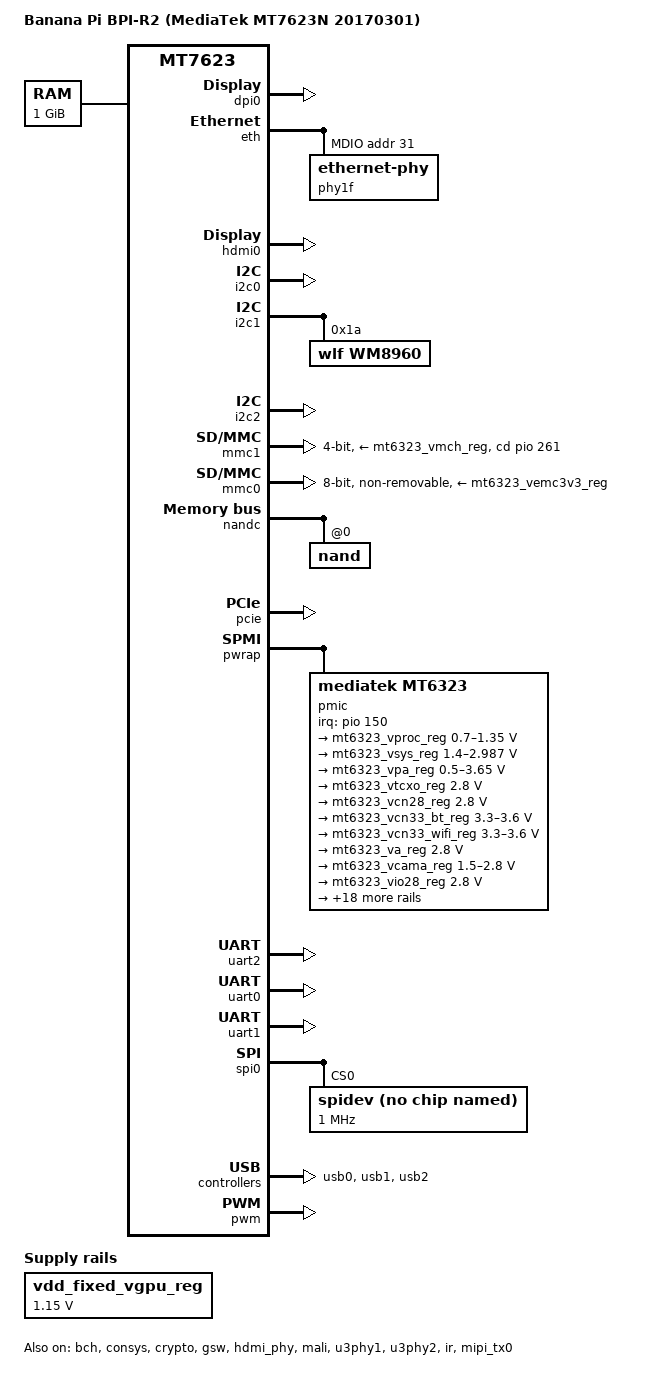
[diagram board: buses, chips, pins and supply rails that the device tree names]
/*
 * Copyright (c) 2016 MediaTek Inc.
 * Author: Sean Wang <sean.wang@mediatek.com>
 *
 * This program is free software; you can redistribute it and/or modify
 * it under the terms of the GNU General Public License version 2 as
 * published by the Free Software Foundation.
 *
 * This program is distributed in the hope that it will be useful,
 * but WITHOUT ANY WARRANTY; without even the implied warranty of
 * MERCHANTABILITY or FITNESS FOR A PARTICULAR PURPOSE.  See the
 * GNU General Public License for more details.
 */

/dts-v1/;
#include "mt7623.dtsi"

/ {
	model = "Banana Pi BPI-R2 (MediaTek MT7623N 20170301)";
	compatible = "mediatek,mt7623-evb", "mediatek,mt7623";

	chosen {
		stdout-path = &uart2;
	};

	memory {
		reg = <0 0x80000000 0 0x40000000>;
	};

	vdd_fixed_vgpu_reg: fixedregulator@0 {
		compatible = "regulator-fixed";
		regulator-name = "vdd_fixed_vgpu";
		regulator-min-microvolt = <1150000>;
		regulator-max-microvolt = <1150000>;
	};
};

&bch {
	status = "okay";
};

&consys {
	mediatek,pwrap-regmap = <&pwrap>;
	pinctrl-names = "default";
	pinctrl-0 = <&consys_pins_default>;
	vcn18-supply = <&mt6323_vcn18_reg>;
	vcn28-supply = <&mt6323_vcn28_reg>;
	vcn33_bt-supply = <&mt6323_vcn33_bt_reg>;
	vcn33_wifi-supply = <&mt6323_vcn33_wifi_reg>;
	status = "okay";
};


&crypto {
	status = "okay";
};

&dpi0 {
	status = "okay";
};

&eth {
	mac-address = [00 00 00 00 00 00];
	status = "okay";
	pinctrl-names = "default";
	pinctrl-0 = <&ephy_default>;
	gmac0: mac@0 {
		compatible = "mediatek,eth-mac";
		reg = <0>;
		phy-mode = "trgmii";
		fixed-link {
			speed = <1000>;
			full-duplex;
			pause;
		};
	};

	gmac1: mac@1 {
		compatible = "mediatek,eth-mac";
		reg = <1>;
		phy-mode = "rgmii";
		fixed-link {
			speed = <1000>;
			full-duplex;
			pause;
		};
	};

	mdio-bus {
		#address-cells = <1>;
		#size-cells = <0>;
		phy1f: ethernet-phy@1f {
			reg = <0x1f>;
			phy-mode = "rgmii";
		};
	};
};

&gsw {
	mt7530-supply = <&mt6323_vpa_reg>;
	pinctrl-names = "reset";
        mediatek,port_map = "wllll";
	pinctrl-0 = <&gsw_reset>;
	mediatek,reset-pin = <&pio 33 0>;
	interrupt-parent = <&pio>;
	interrupts = <17 IRQ_TYPE_EDGE_RISING>;
	status = "okay";
};

&hdmi0 {
	status = "okay";
};

&hdmi_phy {
	status = "okay";
};

&i2c0 {
	pinctrl-names = "default";
	pinctrl-0 = <&i2c0_pins_a>;
	status = "okay";
};

&i2c1 {
	pinctrl-names = "default";
	pinctrl-0 = <&i2c1_pins_a>;
	status = "okay";

	wm8960: wm8960@1a {
		compatible = "wlf,wm8960";
		reg = <0x1a>;
	};
};

&i2c2 {
	pinctrl-names = "default";
	pinctrl-0 = <&i2c2_pins_a>;
	status = "okay";
};


&mali {
	vdd_g3d-supply = <&vdd_fixed_vgpu_reg>;
	status = "okay";
};

&mmc1 {
	pinctrl-names = "default", "state_uhs";
	pinctrl-0 = <&mmc1_pins_default>;
	pinctrl-1 = <&mmc1_pins_uhs>;
	status = "okay";
	bus-width = <4>;
	max-frequency = <50000000>;
	cap-sd-highspeed;
	cd-gpios = <&pio 261 0>;
/*
	wp-gpios = <&pio 29 0>;
*/
	vmmc-supply = <&mt6323_vmch_reg>;
	vqmmc-supply = <&mt6323_vmc_reg>;
};

&mmc0 {
	pinctrl-names = "default", "state_uhs";
	pinctrl-0 = <&mmc0_pins_default>;
	pinctrl-1 = <&mmc0_pins_uhs>;
	status = "okay";
	bus-width = <8>;
	max-frequency = <50000000>;
	cap-mmc-highspeed;
	vmmc-supply = <&mt6323_vemc3v3_reg>;
	vqmmc-supply = <&mt6323_vio18_reg>;
	non-removable;
};

&nandc {
	status = "okay";
	pinctrl-names = "default";
	pinctrl-0 = <&nand_pins_default>;
	nand@0 {
		reg = <0>;
		spare_per_sector = <64>;
		nand-ecc-mode = "hw";
		nand-ecc-strength = <12>;
		nand-ecc-step-size = <1024>;
	};
};

&pcie {
	pinctrl-names = "default";
	pinctrl-0 = <&pcie_default>;
	status = "okay";
};

&pio {
	ephy_default: ephy_default {
		pins_eth {
			pinmux = <MT7623_PIN_275_G2_MDC_FUNC_MDC>,
				 <MT7623_PIN_276_G2_MDIO_FUNC_MDIO>,
				 <MT7623_PIN_262_G2_TXEN_FUNC_G2_TXEN>,
				 <MT7623_PIN_263_G2_TXD3_FUNC_G2_TXD3>,
				 <MT7623_PIN_264_G2_TXD2_FUNC_G2_TXD2>,
				 <MT7623_PIN_265_G2_TXD1_FUNC_G2_TXD1>,
				 <MT7623_PIN_266_G2_TXD0_FUNC_G2_TXD0>,
				 <MT7623_PIN_267_G2_TXCLK_FUNC_G2_TXC>,
				 <MT7623_PIN_268_G2_RXCLK_FUNC_G2_RXC>,
				 <MT7623_PIN_269_G2_RXD0_FUNC_G2_RXD0>,
				 <MT7623_PIN_270_G2_RXD1_FUNC_G2_RXD1>,
				 <MT7623_PIN_271_G2_RXD2_FUNC_G2_RXD2>,
				 <MT7623_PIN_272_G2_RXD3_FUNC_G2_RXD3>,
				 <MT7623_PIN_274_G2_RXDV_FUNC_G2_RXDV>;
		};
	};

        consys_pins_default: consys_pins_default {
	    adie {
		pinmux = <MT7623_PIN_60_WB_RSTB_FUNC_WB_RSTB>,
			 <MT7623_PIN_61_GPIO61_FUNC_TEST_FD>,
			 <MT7623_PIN_62_GPIO62_FUNC_TEST_FC>,
			 <MT7623_PIN_63_WB_SCLK_FUNC_WB_SCLK>,
			 <MT7623_PIN_64_WB_SDATA_FUNC_WB_SDATA>,
			 <MT7623_PIN_65_WB_SEN_FUNC_WB_SEN>,
			 <MT7623_PIN_66_WB_CRTL0_FUNC_WB_CRTL0>,
			 <MT7623_PIN_67_WB_CRTL1_FUNC_WB_CRTL1>,
			 <MT7623_PIN_68_WB_CRTL2_FUNC_WB_CRTL2>,
			 <MT7623_PIN_69_WB_CRTL3_FUNC_WB_CRTL3>,
			 <MT7623_PIN_70_WB_CRTL4_FUNC_WB_CRTL4>,
			 <MT7623_PIN_71_WB_CRTL5_FUNC_WB_CRTL5>;
		bias-disable;
	    };
        };

	gsw_reset: gsw_reset {
		pins_rst {
			pinmux = <MT7623_PIN_33_I2S1_DATA_FUNC_GPIO33>;
			output-low;
		};
	};

	i2c0_pins_a: i2c0@0 {
		pins1 {
			pinmux = <MT7623_PIN_75_SDA0_FUNC_SDA0>,
				 <MT7623_PIN_76_SCL0_FUNC_SCL0>;
			bias-disable;
		};
	};

	i2c1_pins_a: i2c1@0 {
		pins1 {
			pinmux = <MT7623_PIN_57_SDA1_FUNC_GPIO57>,
				 <MT7623_PIN_58_SCL1_FUNC_GPIO58>,
				 <MT7623_PIN_243_UCTS2_FUNC_SDA1>,
				 <MT7623_PIN_242_URTS2_FUNC_SCL1>;
			bias-disable;
		};
	};

	i2c2_pins_a: i2c2@0 {
		pins1 {
			pinmux = <MT7623_PIN_77_SDA2_FUNC_SDA2>,
				 <MT7623_PIN_78_SCL2_FUNC_SCL2>;
			bias-disable;
		};
	};

	spi0_pins_a: spi@0 {
		pins_spi {
			pinmux = <MT7623_PIN_53_SPI0_CSN_FUNC_SPI0_CS>,
				<MT7623_PIN_54_SPI0_CK_FUNC_SPI0_CK>,
				<MT7623_PIN_55_SPI0_MI_FUNC_SPI0_MI>,
				<MT7623_PIN_56_SPI0_MO_FUNC_SPI0_MO>;
			bias-disable;
		};
	};

	nand_pins_default: nanddefault {
		pins_dat {
			pinmux = <MT7623_PIN_111_MSDC0_DAT7_FUNC_NLD7>,
				<MT7623_PIN_112_MSDC0_DAT6_FUNC_NLD6>,
				<MT7623_PIN_114_MSDC0_DAT4_FUNC_NLD4>,
				<MT7623_PIN_118_MSDC0_DAT3_FUNC_NLD3>,
				<MT7623_PIN_121_MSDC0_DAT0_FUNC_NLD0>,
				<MT7623_PIN_120_MSDC0_DAT1_FUNC_NLD1>,
				<MT7623_PIN_113_MSDC0_DAT5_FUNC_NLD5>,
				<MT7623_PIN_115_MSDC0_RSTB_FUNC_NLD8>,
				<MT7623_PIN_119_MSDC0_DAT2_FUNC_NLD2>;
			input-enable;
			drive-strength = <MTK_DRIVE_8mA>;
			bias-pull-up;
		};
	};

	mmc0_pins_default: mmc0default {
		pins_cmd_dat {
			pinmux = <MT7623_PIN_111_MSDC0_DAT7_FUNC_MSDC0_DAT7>,
				 <MT7623_PIN_112_MSDC0_DAT6_FUNC_MSDC0_DAT6>,
				 <MT7623_PIN_113_MSDC0_DAT5_FUNC_MSDC0_DAT5>,
				 <MT7623_PIN_114_MSDC0_DAT4_FUNC_MSDC0_DAT4>,
				 <MT7623_PIN_118_MSDC0_DAT3_FUNC_MSDC0_DAT3>,
				 <MT7623_PIN_119_MSDC0_DAT2_FUNC_MSDC0_DAT2>,
				 <MT7623_PIN_120_MSDC0_DAT1_FUNC_MSDC0_DAT1>,
				 <MT7623_PIN_121_MSDC0_DAT0_FUNC_MSDC0_DAT0>,
				 <MT7623_PIN_116_MSDC0_CMD_FUNC_MSDC0_CMD>;
			input-enable;
			bias-pull-up;
		};

		pins_clk {
			pinmux = <MT7623_PIN_117_MSDC0_CLK_FUNC_MSDC0_CLK>;
			bias-pull-down;
		};

		pins_rst {
			pinmux = <MT7623_PIN_115_MSDC0_RSTB_FUNC_MSDC0_RSTB>;
			bias-pull-up;
		};
	};

	mmc1_pins_default: mmc1default {
		pins_cmd_dat {
			pinmux = <MT7623_PIN_107_MSDC1_DAT0_FUNC_MSDC1_DAT0>,
				 <MT7623_PIN_108_MSDC1_DAT1_FUNC_MSDC1_DAT1>,
				 <MT7623_PIN_109_MSDC1_DAT2_FUNC_MSDC1_DAT2>,
				 <MT7623_PIN_110_MSDC1_DAT3_FUNC_MSDC1_DAT3>,
				 <MT7623_PIN_105_MSDC1_CMD_FUNC_MSDC1_CMD>;
			input-enable;
			drive-strength = <MTK_DRIVE_4mA>;
			bias-pull-up = <MTK_PUPD_SET_R1R0_10>;
		};

		pins_clk {
			pinmux = <MT7623_PIN_106_MSDC1_CLK_FUNC_MSDC1_CLK>;
			bias-pull-down;
			drive-strength = <MTK_DRIVE_4mA>;
		};
	};

	mmc1_pins_uhs: mmc1 {
		pins_cmd_dat {
			pinmux = <MT7623_PIN_107_MSDC1_DAT0_FUNC_MSDC1_DAT0>,
				 <MT7623_PIN_108_MSDC1_DAT1_FUNC_MSDC1_DAT1>,
				 <MT7623_PIN_109_MSDC1_DAT2_FUNC_MSDC1_DAT2>,
				 <MT7623_PIN_110_MSDC1_DAT3_FUNC_MSDC1_DAT3>,
				 <MT7623_PIN_105_MSDC1_CMD_FUNC_MSDC1_CMD>;
			input-enable;
			drive-strength = <MTK_DRIVE_4mA>;
			bias-pull-up = <MTK_PUPD_SET_R1R0_10>;
		};

		pins_clk {
			pinmux = <MT7623_PIN_106_MSDC1_CLK_FUNC_MSDC1_CLK>;
			drive-strength = <MTK_DRIVE_4mA>;
			bias-pull-down = <MTK_PUPD_SET_R1R0_10>;
		};
	};

	mmc0_pins_uhs: mmc0 {
		pins_cmd_dat {
			pinmux = <MT7623_PIN_111_MSDC0_DAT7_FUNC_MSDC0_DAT7>,
				 <MT7623_PIN_112_MSDC0_DAT6_FUNC_MSDC0_DAT6>,
				 <MT7623_PIN_113_MSDC0_DAT5_FUNC_MSDC0_DAT5>,
				 <MT7623_PIN_114_MSDC0_DAT4_FUNC_MSDC0_DAT4>,
				 <MT7623_PIN_118_MSDC0_DAT3_FUNC_MSDC0_DAT3>,
				 <MT7623_PIN_119_MSDC0_DAT2_FUNC_MSDC0_DAT2>,
				 <MT7623_PIN_120_MSDC0_DAT1_FUNC_MSDC0_DAT1>,
				 <MT7623_PIN_121_MSDC0_DAT0_FUNC_MSDC0_DAT0>,
				 <MT7623_PIN_116_MSDC0_CMD_FUNC_MSDC0_CMD>;
			input-enable;
			drive-strength = <MTK_DRIVE_2mA>;
			bias-pull-up = <MTK_PUPD_SET_R1R0_01>;
		};

		pins_clk {
			pinmux = <MT7623_PIN_117_MSDC0_CLK_FUNC_MSDC0_CLK>;
			drive-strength = <MTK_DRIVE_2mA>;
			bias-pull-down = <MTK_PUPD_SET_R1R0_01>;
		};

		pins_rst {
			pinmux = <MT7623_PIN_115_MSDC0_RSTB_FUNC_MSDC0_RSTB>;
			bias-pull-up;
		};
	};

	pcie_default: pcie_pin_default {
		pins_cmd_dat {
			pinmux = <MT7623_PIN_208_AUD_EXT_CK1_FUNC_PCIE0_PERST_N>,
				 <MT7623_PIN_209_AUD_EXT_CK2_FUNC_PCIE1_PERST_N>;
		};
	};

	usb_iddig: iddig_irq_init{
		pins_cmd_dat {
			pinmux = <MT7623_PIN_44_NCEB1_FUNC_GPIO44>;
			bias-pull-up ;
		};
	};

	usb_drvvbus: drvvbus_init{
		pins_cmd_dat {
			pinmux = <MT7623_PIN_237_EXT_SDIO2_FUNC_GPIO237>;
			output-low;
		};
	};

	usb_drvvbus_low: drvvbus_low{
		pins_cmd_dat {
			pinmux = <MT7623_PIN_237_EXT_SDIO2_FUNC_GPIO237>;
			slew-rate = <1>;
			output-low;
		};
	};

	usb_drvvbus_high: drvvbus_high{
		pins_cmd_dat {
			pinmux = <MT7623_PIN_237_EXT_SDIO2_FUNC_GPIO237>;
			output-high;
		};
	};

        pwm4_default_pin: pwm4 {
                pins_cmd_dat {
                        pinmux = <MT7623_PIN_207_PWM4_FUNC_PWM4>;
                };
        };

        mipi_dsi_pin: mipi_dsi_pin {
                pins_cmd_dat {
                      pinmux = <MT7623_PIN_100_MIPI_TDP0_FUNC_TDP0>,
                               <MT7623_PIN_99_MIPI_TDN0_FUNC_TDN0>,
                               <MT7623_PIN_98_MIPI_TDP1_FUNC_TDP1>,
                               <MT7623_PIN_97_MIPI_TDN1_FUNC_TDN1>,
                               <MT7623_PIN_96_MIPI_TCP_FUNC_TCP>,
                               <MT7623_PIN_95_MIPI_TCN_FUNC_TCN>;
               };

      };

};

&pwrap {
	pmic: mt6323 {
		compatible = "mediatek,mt6323";
		interrupt-parent = <&pio>;
		interrupts = <150 IRQ_TYPE_LEVEL_HIGH>;
		interrupt-controller;
		#interrupt-cells = <2>;

		mt6323regulator: mt6323regulator{
			compatible = "mediatek,mt6323-regulator";

			mt6323_vproc_reg: buck_vproc{
				regulator-name = "vproc";
				regulator-min-microvolt = < 700000>;
				regulator-max-microvolt = <1350000>;
				regulator-ramp-delay = <12500>;
				regulator-always-on;
				regulator-boot-on;
			};

			mt6323_vsys_reg: buck_vsys{
				regulator-name = "vsys";
				regulator-min-microvolt = <1400000>;
				regulator-max-microvolt = <2987500>;
				regulator-ramp-delay = <25000>;
				regulator-always-on;
				regulator-boot-on;
			};

			mt6323_vpa_reg: buck_vpa{
				regulator-name = "vpa";
				regulator-min-microvolt = < 500000>;
				regulator-max-microvolt = <3650000>;
			};

			mt6323_vtcxo_reg: ldo_vtcxo{
				regulator-name = "vtcxo";
				regulator-min-microvolt = <2800000>;
				regulator-max-microvolt = <2800000>;
				regulator-enable-ramp-delay = <90>;
				regulator-always-on;
				regulator-boot-on;
			};

			mt6323_vcn28_reg: ldo_vcn28{
				regulator-name = "vcn28";
				regulator-min-microvolt = <2800000>;
				regulator-max-microvolt = <2800000>;
				regulator-enable-ramp-delay = <185>;
			};

			mt6323_vcn33_bt_reg: ldo_vcn33_bt{
				regulator-name = "vcn33_bt";
				regulator-min-microvolt = <3300000>;
				regulator-max-microvolt = <3600000>;
				regulator-enable-ramp-delay = <185>;
			};

			mt6323_vcn33_wifi_reg: ldo_vcn33_wifi{
				regulator-name = "vcn33_wifi";
				regulator-min-microvolt = <3300000>;
				regulator-max-microvolt = <3600000>;
				regulator-enable-ramp-delay = <185>;
			};

			mt6323_va_reg: ldo_va{
				regulator-name = "va";
				regulator-min-microvolt = <2800000>;
				regulator-max-microvolt = <2800000>;
				regulator-enable-ramp-delay = <216>;
				regulator-always-on;
				regulator-boot-on;
			};

			mt6323_vcama_reg: ldo_vcama{
				regulator-name = "vcama";
				regulator-min-microvolt = <1500000>;
				regulator-max-microvolt = <2800000>;
				regulator-enable-ramp-delay = <216>;
			};

			mt6323_vio28_reg: ldo_vio28{
				regulator-name = "vio28";
				regulator-min-microvolt = <2800000>;
				regulator-max-microvolt = <2800000>;
				regulator-enable-ramp-delay = <216>;
				regulator-always-on;
				regulator-boot-on;
			};

			mt6323_vusb_reg: ldo_vusb{
				regulator-name = "vusb";
				regulator-min-microvolt = <3300000>;
				regulator-max-microvolt = <3300000>;
				regulator-enable-ramp-delay = <216>;
				regulator-boot-on;
			};

			mt6323_vmc_reg: ldo_vmc{
				regulator-name = "vmc";
				regulator-min-microvolt = <1800000>;
				regulator-max-microvolt = <3300000>;
				regulator-enable-ramp-delay = <36>;
				regulator-boot-on;
			};

			mt6323_vmch_reg: ldo_vmch{
				regulator-name = "vmch";
				regulator-min-microvolt = <3000000>;
				regulator-max-microvolt = <3300000>;
				regulator-enable-ramp-delay = <36>;
				regulator-boot-on;
			};

			mt6323_vemc3v3_reg: ldo_vemc3v3{
				regulator-name = "vemc3v3";
				regulator-min-microvolt = <3000000>;
				regulator-max-microvolt = <3300000>;
				regulator-enable-ramp-delay = <36>;
				regulator-boot-on;
			};

			mt6323_vgp1_reg: ldo_vgp1{
				regulator-name = "vgp1";
				regulator-min-microvolt = <1200000>;
				regulator-max-microvolt = <3300000>;
				regulator-enable-ramp-delay = <216>;
			};

			mt6323_vgp2_reg: ldo_vgp2{
				regulator-name = "vgp2";
				regulator-min-microvolt = <1200000>;
				regulator-max-microvolt = <3000000>;
				regulator-enable-ramp-delay = <216>;
			};

			mt6323_vgp3_reg: ldo_vgp3{
				regulator-name = "vgp3";
				regulator-min-microvolt = <1200000>;
				regulator-max-microvolt = <1800000>;
				regulator-enable-ramp-delay = <216>;
			};

			mt6323_vcn18_reg: ldo_vcn18{
				regulator-name = "vcn18";
				regulator-min-microvolt = <1800000>;
				regulator-max-microvolt = <1800000>;
				regulator-enable-ramp-delay = <216>;
			};

			mt6323_vsim1_reg: ldo_vsim1{
				regulator-name = "vsim1";
				regulator-min-microvolt = <1800000>;
				regulator-max-microvolt = <3000000>;
				regulator-enable-ramp-delay = <216>;
			};

			mt6323_vsim2_reg: ldo_vsim2{
				regulator-name = "vsim2";
				regulator-min-microvolt = <1800000>;
				regulator-max-microvolt = <3000000>;
				regulator-enable-ramp-delay = <216>;
			};

			mt6323_vrtc_reg: ldo_vrtc{
				regulator-name = "vrtc";
				regulator-min-microvolt = <2800000>;
				regulator-max-microvolt = <2800000>;
				regulator-always-on;
				regulator-boot-on;
			};

			mt6323_vcamaf_reg: ldo_vcamaf{
				regulator-name = "vcamaf";
				regulator-min-microvolt = <1200000>;
				regulator-max-microvolt = <3300000>;
				regulator-enable-ramp-delay = <216>;
			};

			mt6323_vibr_reg: ldo_vibr{
				regulator-name = "vibr";
				regulator-min-microvolt = <1200000>;
				regulator-max-microvolt = <3300000>;
				regulator-enable-ramp-delay = <36>;
			};

			mt6323_vrf18_reg: ldo_vrf18{
				regulator-name = "vrf18";
				regulator-min-microvolt = <1825000>;
				regulator-max-microvolt = <1825000>;
				regulator-enable-ramp-delay = <187>;
			};

			mt6323_vm_reg: ldo_vm{
				regulator-name = "vm";
				regulator-min-microvolt = <1200000>;
				regulator-max-microvolt = <1800000>;
				regulator-enable-ramp-delay = <216>;
				regulator-always-on;
				regulator-boot-on;
			};

			mt6323_vio18_reg: ldo_vio18{
				regulator-name = "vio18";
				regulator-min-microvolt = <1800000>;
				regulator-max-microvolt = <1800000>;
				regulator-enable-ramp-delay = <216>;
				regulator-always-on;
				regulator-boot-on;
			};

			mt6323_vcamd_reg: ldo_vcamd{
				regulator-name = "vcamd";
				regulator-min-microvolt = <1200000>;
				regulator-max-microvolt = <1800000>;
				regulator-enable-ramp-delay = <216>;
			};

			mt6323_vcamio_reg: ldo_vcamio{
				regulator-name = "vcamio";
				regulator-min-microvolt = <1800000>;
				regulator-max-microvolt = <1800000>;
				regulator-enable-ramp-delay = <216>;
			};
		};
	        mt6323rtc: rtc{
			compatible = "mediatek,mt6323-rtc";
			power-off{
				compatible = "mediatek,mt6323-rtc-poweroff";
			};
		};
	};
};

&uart2 {
	status = "okay";
};
&uart0 {
	status = "okay";
};
&uart1 {
	status = "okay";
};

&spi0 {
	pinctrl-names = "default";
	pinctrl-0 = <&spi0_pins_a>;
	status = "okay";

	spidev: spidev@0 {
		compatible = "rohm,dh2228fv";
		spi-max-frequency = <1000000>;
		reg = <0>;
	};
};

&u3phy1 {
	status = "okay";
};

&u3phy2 {
	status = "okay";
};

&usb0 {
	pinctrl-names = "iddig_irq_init", "drvvbus_init",
			"drvvbus_low", "drvvbus_high";
	pinctrl-0 = <&usb_iddig>;
	pinctrl-1 = <&usb_drvvbus>;
	pinctrl-2 = <&usb_drvvbus_low>;
	pinctrl-3 = <&usb_drvvbus_high>;
	status = "okay";
	drvvbus_gpio = <&pio 237 0>;
	otg-iddig{
		iddig_gpio = <&pio 44 0>;
		interrupt-parent = <&pio>;
		interrupts = <26 IRQ_TYPE_LEVEL_LOW>;
	};
	vbus-detect{
		vbus_gpio = <&pio 102 0>;
		interrupt-parent = <&pio>;
		interrupts = <75 IRQ_TYPE_LEVEL_HIGH>;
	};
};

&usb1 {
	vusb33-supply = <&mt6323_vusb_reg>;
	status = "okay";
};

&usb2 {
	vusb33-supply = <&mt6323_vusb_reg>;
	status = "okay";
};

&ir {
        status = "okay";
};

&pwm {
	status = "okay";
};

&mipi_tx0 {
        pinctrl-names = "default";
        pinctrl-0 = <&mipi_dsi_pin>;
        status = "okay";

};




